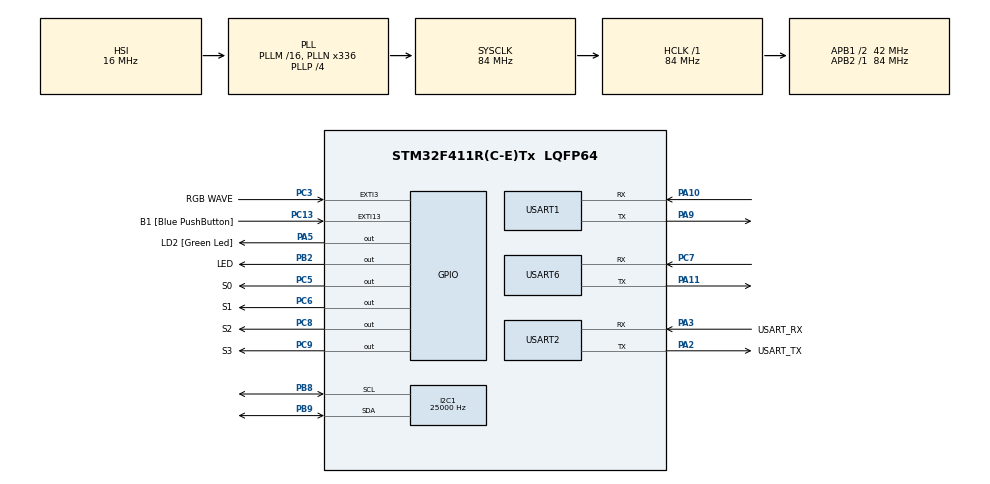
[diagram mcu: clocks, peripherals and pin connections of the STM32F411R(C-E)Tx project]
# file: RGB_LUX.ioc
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FREERTOS.Mutexes01=UartMutex,Dynamic,NULL;ESPUARTMutex,Dynamic,NULL
FREERTOS.Tasks01=defaultTask,0,128,StartDefaultTask,Default,NULL,Dynamic,NULL,NULL;LUX,-3,128,luxFunc,Default,NULL,Dynamic,NULL,NULL
FREERTOS.Timers01=measureTimer,measure,osTimerPeriodic,Default,NULL,Dynamic,NULL;autoUpdate,update,osTimerPeriodic,Default,NULL,Dynamic,NULL
FREERTOS.configUSE_TIMERS=1
I2C1.ClockSpeed=25000
Mcu.Family=STM32F4
Mcu.Name=STM32F411R(C-E)Tx
Mcu.Package=LQFP64
NVIC.EXTI15_10_IRQn=true\:5\:0\:false\:false\:true\:true\:true\:true
NVIC.EXTI3_IRQn=true\:0\:0\:true\:false\:true\:false\:true\:true
NVIC.PriorityGroup=NVIC_PRIORITYGROUP_4
PA10.Mode=Asynchronous
PA10.Signal=USART1_RX
PA11.Mode=Asynchronous
PA11.Signal=USART6_TX
PA13.GPIO_Label=TMS
PA13.Mode=Serial_Wire
PA13.Signal=SYS_JTMS-SWDIO
PA14.GPIO_Label=TCK
PA14.Mode=Serial_Wire
PA14.Signal=SYS_JTCK-SWCLK
PA2.GPIO_Label=USART_TX
PA2.Mode=Asynchronous
PA2.Signal=USART2_TX
PA3.GPIO_Label=USART_RX
PA3.Mode=Asynchronous
PA3.Signal=USART2_RX
PA5.GPIO_Label=LD2 [Green Led]
PA5.GPIO_ModeDefaultOutputPP=GPIO_MODE_OUTPUT_PP
PA5.Signal=GPIO_Output
PA9.Mode=Asynchronous
PA9.Signal=USART1_TX
PB2.GPIO_Label=LED
PB2.Signal=GPIO_Output
PB3.GPIO_Label=SWO
PB3.Signal=SYS_JTDO-SWO
PB8.GPIO_Pu=GPIO_PULLUP
PB8.Mode=I2C
PB8.Signal=I2C1_SCL
PB9.GPIO_Pu=GPIO_PULLUP
PB9.Mode=I2C
PB9.Signal=I2C1_SDA
PC13-ANTI_TAMP.GPIO_Label=B1 [Blue PushButton]
PC13-ANTI_TAMP.GPIO_ModeDefaultEXTI=GPIO_MODE_IT_FALLING
PC13-ANTI_TAMP.Signal=GPXTI13
PC14-OSC32_IN.Mode=LSE-External-Oscillator
PC14-OSC32_IN.Signal=RCC_OSC32_IN
PC15-OSC32_OUT.Mode=LSE-External-Oscillator
PC15-OSC32_OUT.Signal=RCC_OSC32_OUT
PC3.GPIO_Label=RGB WAVE
PC3.GPIO_ModeDefaultEXTI=GPIO_MODE_IT_RISING
PC3.Signal=GPXTI3
PC5.GPIO_Label=S0
PC5.Signal=GPIO_Output
PC6.GPIO_Label=S1
PC6.Signal=GPIO_Output
PC7.Mode=Asynchronous
PC7.Signal=USART6_RX
PC8.GPIO_Label=S2
PC8.Signal=GPIO_Output
PC9.GPIO_Label=S3
PC9.Signal=GPIO_Output
PH0\ -\ OSC_IN.Mode=HSE-External-Clock-Source
PH0\ -\ OSC_IN.Signal=RCC_OSC_IN
PH1\ -\ OSC_OUT.Mode=HSE-External-Clock-Source
PH1\ -\ OSC_OUT.Signal=RCC_OSC_OUT
ProjectManager.HeapSize=0x200
ProjectManager.StackSize=0x400
ProjectManager.TargetToolchain=STM32CubeIDE
RCC.48MHZClocksFreq_Value=84000000
RCC.AHBFreq_Value=84000000
RCC.APB1CLKDivider=RCC_HCLK_DIV2
RCC.APB1Freq_Value=42000000
RCC.APB1TimFreq_Value=84000000
RCC.APB2Freq_Value=84000000
RCC.APB2TimFreq_Value=84000000
RCC.CortexFreq_Value=84000000
RCC.FLatency-AdvancedSettings=FLASH_LATENCY_2
RCC.HCLKFreq_Value=84000000
RCC.HSE_VALUE=8000000
RCC.HSI_VALUE=16000000
RCC.PLLN=336
RCC.PLLP=RCC_PLLP_DIV4
RCC.SYSCLKFreq_VALUE=84000000
RCC.SYSCLKSource=RCC_SYSCLKSOURCE_PLLCLK
RCC.VCOOutputFreq_Value=336000000
USART1.VirtualMode=VM_ASYNC
USART2.VirtualMode=VM_ASYNC
USART6.VirtualMode=VM_ASYNC
VP_FREERTOS_VS_CMSIS_V1.Mode=CMSIS_V1
board=NUCLEO-F411RE

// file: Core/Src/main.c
/* USER CODE BEGIN Header */
/**
 ******************************************************************************
 * @file           : main.c
 * @brief          : Main program body
 ******************************************************************************
 * @attention
 *
 * Copyright (c) 2022 STMicroelectronics.
 * All rights reserved.
 *
 * This software is licensed under terms that can be found in the LICENSE file
 * in the root directory of this software component.
 * If no LICENSE0file comes with this software, it is provided AS-IS.
 *
 ******************************************************************************
 */
/* USER CODE END Header */
#include "main.h"
#include "cmsis_os.h"

/* USER CODE BEGIN PTD */

// LUX CONST
#define LUX_SCALE 14	// 2^14
#define RATIO_SCALE 9	// scale ratio to 2^5=512
#define K1T 0x0040 		// 0.125 * 2^RATIO_SCALE
#define B1T 0x01f2 		// 0.0304 * 2^LUX_SCALE
#define M1T 0x01be 		// 0.0272 * 2^LUX_SCALE
#define K2T 0x0080 		// 0.250 * 2^RATIO_SCALE
#define B2T 0x0214 		// 0.0325 * 2^LUX_SCALE
#define M2T 0x02d1		// 0.0440 * 2^LUX_SCALE
#define K3T 0x00c0		// 0.375 * 2^RATIO_SCALE
#define B3T 0x023f 		// 0.0351 * 2^LUX_SCALE
#define M3T 0x037b 		// 0.0544 * 2^LUX_SCALE
#define K4T 0x0100 		// 0.50 * 2^RATIO_SCALE
#define B4T 0x0270 		// 0.0381 * 2^LUX_SCALE
#define M4T 0x03fe 		// 0.0624 * 2^LUX_SCALE
#define K5T 0x0138 		// 0.61 * 2^RATIO_SCALE
#define B5T 0x016f 		// 0.0224 * 2^LUX_SCALE
#define M5T 0x01fc 		// 0.0310 * 2^LUX_SCALE
#define K6T 0x019a 		// 0.80 * 2^RATIO_SCALE
#define B6T 0x00d2 		// 0.0128 * 2^LUX_SCALE
#define M6T 0x00fb 		// 0.0153 * 2^LUX_SCALE
#define K7T 0x029a 		// 1.3 * 2^RATIO_SCALE
#define B7T 0x0018 		// 0.00146 * 2^LUX_SCALE
#define M7T 0x0012 		// 0.00112 * 2^LUX_SCALE
#define K8T 0x029a 		// 1.3 * 2^RATIO_SCALE
#define B8T 0x0000 		// 0.000 * 2^LUX_SCALE
#define M8T 0x0000 		// 0.000 * 2^LUX_SCALE

// RGB CONST
#define MAX_RED 	326
#define MAX_GREEN 	300
#define MAX_BLUE 	390

#define MIN_RED		54
#define MIN_GREEN	46
#define MIN_BLUE	61

/* USER CODE END PTD */

I2C_HandleTypeDef hi2c1;

UART_HandleTypeDef huart1;
UART_HandleTypeDef huart2;
UART_HandleTypeDef huart6;

osThreadId defaultTaskHandle;
osThreadId LUXHandle;
osTimerId measureTimerHandle;
osTimerId autoUpdateHandle;
osMutexId UartMutexHandle;
osMutexId ESPUARTMutexHandle;

void SystemClock_Config(void);
static void MX_GPIO_Init(void);
static void MX_USART2_UART_Init(void);
static void MX_USART1_UART_Init(void);
static void MX_I2C1_Init(void);
static void MX_USART6_UART_Init(void);
void StartDefaultTask(void const *argument);
void luxFunc(void const *argument);
void rgbCount(void const *argument);
void update(void const *argument);

/* USER CODE BEGIN 0 */

// PIN
uint8_t S0; 	//PC5
uint8_t S1;  	//PC6
uint8_t S2 = 0; 	//PC8
uint8_t S3 = 0; 	//PC9

// FOR RGB
uint8_t flag = 0;
int counter = 0;
int countR = 0;
int countG = 0;
int countB = 0;

// FOR LUX
HAL_StatusTypeDef ret;
uint8_t R0C[1];
uint8_t R0D[1];
uint8_t R0E[1];
uint8_t R0F[1];
uint8_t S[2];
uint8_t uart[32];
uint8_t addr[1] = { 0x8C };
uint8_t config[1] = { 0x03 };

// CONTROL
int globalColor[3];
int globalLux[1];
char colorBuffer[100];
char luxBuffer[10];
char luxString[4];
//char printBuffer[50];

int map(int x,int in_min,int in_max,int out_min,int out_max){
	int calibrate = (x-in_min)*(out_max-out_min) / (in_max - in_min) + out_min;
	if(calibrate>255) return 255;
	if(calibrate<0) return 0;
	return calibrate;
}

void printMutexUART(char *buffer) {
	// UART MUTEX
	osMutexWait(UartMutexHandle, osWaitForever);
	HAL_UART_Transmit(&huart2, buffer, strlen(buffer), 1000);
	osMutexRelease(UartMutexHandle);
}
void settingNextFilter(int counter, uint8_t state) {
	// Testing color and setting next color filter
	//                s2 s3
	// RED FILTER   -> 0 0
	// BLUE FILTER 	-> 0 1
	// GREEN FILTER	-> 1 1

	if (state == 1) {	// RED
		//sprintf(printBuffer,"RED\t: %d\r\n",counter);
		//printMutexUART(printBuffer);

		//Setting next Filter : BLUE
		HAL_GPIO_WritePin(GPIOC, GPIO_PIN_8, 0);
		HAL_GPIO_WritePin(GPIOC, GPIO_PIN_9, 1);

	} else if (state == 2) {	// BLUE
		//sprintf(printBuffer,"BLUE\t: %d\r\n",counter);
		//printMutexUART(printBuffer);

		//Setting next Filter : GREEN
		HAL_GPIO_WritePin(GPIOC, GPIO_PIN_8, 1);
		HAL_GPIO_WritePin(GPIOC, GPIO_PIN_9, 1);

	} else if (state == 3) { // GREEN
		//sprintf(printBuffer,"GREEN\t: %d\r\n\n",counter);
		//printMutexUART(printBuffer);

		//Setting next Filter : RED
		HAL_GPIO_WritePin(GPIOC, GPIO_PIN_8, 0);
		HAL_GPIO_WritePin(GPIOC, GPIO_PIN_9, 0);
	}
}
/*
int calibrate(int counter,uint8_t color){
	int calibrate = 0;
	if(color==1){
		calibrate = counter * 255 / MAX_RED;
	} else if(color==2){
		calibrate = counter * 255 / MAX_BLUE;
	} else if(color==3){
		calibrate = counter * 255 / MAX_GREEN;
	}
	return calibrate;
}
*/
void sendDataToNodeMCU() {
	// Send lastest Data to node MCU

	// LED PIN CHECK
	HAL_GPIO_TogglePin(GPIOA, GPIO_PIN_5);

	// SENDER TERMINAL
	sprintf(colorBuffer, "R : %d G: %d B :%d\r\n", globalColor[0],
			globalColor[1], globalColor[2]);
	printMutexUART(colorBuffer);
	sprintf(luxBuffer, "LUX : %d\r\n", globalLux[0]);
	printMutexUART(luxBuffer);

	// FORMAT LUX FROM INT TO STRING
	itoa(globalLux[0], luxString, 10);

	// SEND TO NODE MCU in String Format
	HAL_UART_Transmit(&huart1, globalColor, 3 * sizeof(int), 1000);
	HAL_UART_Transmit(&huart6, luxString, sizeof(luxString), 1000);
}
void HAL_GPIO_EXTI_Callback(uint16_t GPIO_Pin) {	// WAVE CHANGEs
	if (GPIO_Pin == GPIO_PIN_13) {						// PUSH BUTTON REQEUST
		sendDataToNodeMCU();
		//HAL_Delay(100);
		while (HAL_GPIO_ReadPin(B1_GPIO_Port, B1_Pin))
			;
	} else if (GPIO_Pin == GPIO_PIN_3) {		// COUNT FREQ OF LIGHT BY TIMER
		counter++; // count freq of color
	}
	__HAL_GPIO_EXTI_CLEAR_IT(GPIO_Pin);
}
/* USER CODE END 0 */

int main(void) {

	/* MCU Configuration--------------------------------------------------------*/

	/* Reset of all peripherals, Initializes the Flash interface and the Systick. */
	HAL_Init();

	/* Configure the system clock */
	SystemClock_Config();

	/* Initialize all configured peripherals */
	MX_GPIO_Init();
	MX_USART2_UART_Init();
	MX_USART1_UART_Init();
	MX_I2C1_Init();
	MX_USART6_UART_Init();
	/* USER CODE BEGIN 2 */

	// SET UP SCALING PIN
	HAL_GPIO_WritePin(GPIOC, GPIO_PIN_5, 1); // -> 1 0 means that 50% scaling
	HAL_GPIO_WritePin(GPIOC, GPIO_PIN_6, 0);
	// TURN ON LIGHT ON RGB
	HAL_GPIO_WritePin(GPIOB, GPIO_PIN_2, 1); // B2-LED

	/* USER CODE END 2 */

	/* Create the mutex(es) */
	/* definition and creation of UartMutex */
	osMutexDef(UartMutex);
	UartMutexHandle = osMutexCreate(osMutex(UartMutex));

	/* definition and creation of ESPUARTMutex */
	osMutexDef(ESPUARTMutex);
	ESPUARTMutexHandle = osMutexCreate(osMutex(ESPUARTMutex));

	/* Create the timer(s) */
	/* definition and creation of measureTimer */
	osTimerDef(measureTimer, rgbCount);
	measureTimerHandle = osTimerCreate(osTimer(measureTimer), osTimerPeriodic,
	NULL);

	/* definition and creation of autoUpdate */
	osTimerDef(autoUpdate, update);
	autoUpdateHandle = osTimerCreate(osTimer(autoUpdate), osTimerPeriodic,
	NULL);

	/* USER CODE BEGIN RTOS_TIMERS */
	/* start timers, add new ones, ... */
	osTimerStart(measureTimerHandle, 10);
	osTimerStart(autoUpdateHandle, 10000);
	/* USER CODE END RTOS_TIMERS */

	/* Create the thread(s) */
	/* definition and creation of defaultTask */
	osThreadDef(defaultTask, StartDefaultTask, osPriorityNormal, 0, 128);
	defaultTaskHandle = osThreadCreate(osThread(defaultTask), NULL);

	/* definition and creation of LUX */
	osThreadDef(LUX, luxFunc, osPriorityIdle, 0, 128);
	LUXHandle = osThreadCreate(osThread(LUX), NULL);

	/* Start scheduler */
	osKernelStart();

	/* We should never get here as control is now taken by the scheduler */
	/* Infinite loop */
	while (1) {

	}
}

void SystemClock_Config(void) {
	RCC_OscInitTypeDef RCC_OscInitStruct = { 0 };
	RCC_ClkInitTypeDef RCC_ClkInitStruct = { 0 };

	/** Configure the main internal regulator output voltage
	 */
	__HAL_RCC_PWR_CLK_ENABLE();
	__HAL_PWR_VOLTAGESCALING_CONFIG(PWR_REGULATOR_VOLTAGE_SCALE1);
	/** Initializes the RCC Oscillators according to the specified parameters
	 * in the RCC_OscInitTypeDef structure.
	 */
	RCC_OscInitStruct.OscillatorType = RCC_OSCILLATORTYPE_HSI;
	RCC_OscInitStruct.HSIState = RCC_HSI_ON;
	RCC_OscInitStruct.HSICalibrationValue = RCC_HSICALIBRATION_DEFAULT;
	RCC_OscInitStruct.PLL.PLLState = RCC_PLL_ON;
	RCC_OscInitStruct.PLL.PLLSource = RCC_PLLSOURCE_HSI;
	RCC_OscInitStruct.PLL.PLLM = 16;
	RCC_OscInitStruct.PLL.PLLN = 336;
	RCC_OscInitStruct.PLL.PLLP = RCC_PLLP_DIV4;
	RCC_OscInitStruct.PLL.PLLQ = 4;
	if (HAL_RCC_OscConfig(&RCC_OscInitStruct) != HAL_OK) {
		Error_Handler();
	}
	/** Initializes the CPU, AHB and APB buses clocks
	 */
	RCC_ClkInitStruct.ClockType = RCC_CLOCKTYPE_HCLK | RCC_CLOCKTYPE_SYSCLK
			| RCC_CLOCKTYPE_PCLK1 | RCC_CLOCKTYPE_PCLK2;
	RCC_ClkInitStruct.SYSCLKSource = RCC_SYSCLKSOURCE_PLLCLK;
	RCC_ClkInitStruct.AHBCLKDivider = RCC_SYSCLK_DIV1;
	RCC_ClkInitStruct.APB1CLKDivider = RCC_HCLK_DIV2;
	RCC_ClkInitStruct.APB2CLKDivider = RCC_HCLK_DIV1;

	if (HAL_RCC_ClockConfig(&RCC_ClkInitStruct, FLASH_LATENCY_2) != HAL_OK) {
		Error_Handler();
	}
}

static void MX_I2C1_Init(void) {

	hi2c1.Instance = I2C1;
	hi2c1.Init.ClockSpeed = 25000;
	hi2c1.Init.DutyCycle = I2C_DUTYCYCLE_2;
	hi2c1.Init.OwnAddress1 = 0;
	hi2c1.Init.AddressingMode = I2C_ADDRESSINGMODE_7BIT;
	hi2c1.Init.DualAddressMode = I2C_DUALADDRESS_DISABLE;
	hi2c1.Init.OwnAddress2 = 0;
	hi2c1.Init.GeneralCallMode = I2C_GENERALCALL_DISABLE;
	hi2c1.Init.NoStretchMode = I2C_NOSTRETCH_DISABLE;
	if (HAL_I2C_Init(&hi2c1) != HAL_OK) {
		Error_Handler();
	}

}

static void MX_USART1_UART_Init(void) {

	huart1.Instance = USART1;
	huart1.Init.BaudRate = 115200;
	huart1.Init.WordLength = UART_WORDLENGTH_8B;
	huart1.Init.StopBits = UART_STOPBITS_1;
	huart1.Init.Parity = UART_PARITY_NONE;
	huart1.Init.Mode = UART_MODE_TX_RX;
	huart1.Init.HwFlowCtl = UART_HWCONTROL_NONE;
	huart1.Init.OverSampling = UART_OVERSAMPLING_16;
	if (HAL_UART_Init(&huart1) != HAL_OK) {
		Error_Handler();
	}

}

static void MX_USART2_UART_Init(void) {

	huart2.Instance = USART2;
	huart2.Init.BaudRate = 115200;
	huart2.Init.WordLength = UART_WORDLENGTH_8B;
	huart2.Init.StopBits = UART_STOPBITS_1;
	huart2.Init.Parity = UART_PARITY_NONE;
	huart2.Init.Mode = UART_MODE_TX_RX;
	huart2.Init.HwFlowCtl = UART_HWCONTROL_NONE;
	huart2.Init.OverSampling = UART_OVERSAMPLING_16;
	if (HAL_UART_Init(&huart2) != HAL_OK) {
		Error_Handler();
	}

}

static void MX_USART6_UART_Init(void) {

	huart6.Instance = USART6;
	huart6.Init.BaudRate = 115200;
	huart6.Init.WordLength = UART_WORDLENGTH_8B;
	huart6.Init.StopBits = UART_STOPBITS_1;
	huart6.Init.Parity = UART_PARITY_NONE;
	huart6.Init.Mode = UART_MODE_TX_RX;
	huart6.Init.HwFlowCtl = UART_HWCONTROL_NONE;
	huart6.Init.OverSampling = UART_OVERSAMPLING_16;
	if (HAL_UART_Init(&huart6) != HAL_OK) {
		Error_Handler();
	}

}

static void MX_GPIO_Init(void) {
	GPIO_InitTypeDef GPIO_InitStruct = { 0 };

	/* GPIO Ports Clock Enable */
	__HAL_RCC_GPIOC_CLK_ENABLE();
	__HAL_RCC_GPIOH_CLK_ENABLE();
	__HAL_RCC_GPIOA_CLK_ENABLE();
	__HAL_RCC_GPIOB_CLK_ENABLE();

	/*Configure GPIO pin Output Level */
	HAL_GPIO_WritePin(LD2_GPIO_Port, LD2_Pin, GPIO_PIN_RESET);

	/*Configure GPIO pin Output Level */
	HAL_GPIO_WritePin(GPIOC, S0_Pin | S1_Pin | S2_Pin | S3_Pin, GPIO_PIN_RESET);

	/*Configure GPIO pin Output Level */
	HAL_GPIO_WritePin(LED_GPIO_Port, LED_Pin, GPIO_PIN_RESET);

	/*Configure GPIO pin : B1_Pin */
	GPIO_InitStruct.Pin = B1_Pin;
	GPIO_InitStruct.Mode = GPIO_MODE_IT_FALLING;
	GPIO_InitStruct.Pull = GPIO_NOPULL;
	HAL_GPIO_Init(B1_GPIO_Port, &GPIO_InitStruct);

	/*Configure GPIO pin : RGB_WAVE_Pin */
	GPIO_InitStruct.Pin = RGB_WAVE_Pin;
	GPIO_InitStruct.Mode = GPIO_MODE_IT_RISING;
	GPIO_InitStruct.Pull = GPIO_NOPULL;
	HAL_GPIO_Init(RGB_WAVE_GPIO_Port, &GPIO_InitStruct);

	/*Configure GPIO pin : LD2_Pin */
	GPIO_InitStruct.Pin = LD2_Pin;
	GPIO_InitStruct.Mode = GPIO_MODE_OUTPUT_PP;
	GPIO_InitStruct.Pull = GPIO_NOPULL;
	GPIO_InitStruct.Speed = GPIO_SPEED_FREQ_LOW;
	HAL_GPIO_Init(LD2_GPIO_Port, &GPIO_InitStruct);

	/*Configure GPIO pins : S0_Pin S1_Pin S2_Pin S3_Pin */
	GPIO_InitStruct.Pin = S0_Pin | S1_Pin | S2_Pin | S3_Pin;
	GPIO_InitStruct.Mode = GPIO_MODE_OUTPUT_PP;
	GPIO_InitStruct.Pull = GPIO_NOPULL;
	GPIO_InitStruct.Speed = GPIO_SPEED_FREQ_LOW;
	HAL_GPIO_Init(GPIOC, &GPIO_InitStruct);

	/*Configure GPIO pin : LED_Pin */
	GPIO_InitStruct.Pin = LED_Pin;
	GPIO_InitStruct.Mode = GPIO_MODE_OUTPUT_PP;
	GPIO_InitStruct.Pull = GPIO_NOPULL;
	GPIO_InitStruct.Speed = GPIO_SPEED_FREQ_LOW;
	HAL_GPIO_Init(LED_GPIO_Port, &GPIO_InitStruct);

	/* EXTI interrupt init*/
	HAL_NVIC_SetPriority(EXTI3_IRQn, 0, 0);
	HAL_NVIC_EnableIRQ(EXTI3_IRQn);

	HAL_NVIC_SetPriority(EXTI15_10_IRQn, 5, 0);
	HAL_NVIC_EnableIRQ(EXTI15_10_IRQn);

}

void StartDefaultTask(void const *argument) {
	while (1) {
		osDelay(1);
	}
}

void luxFunc(void const *argument) {
	/* USER CODE BEGIN luxFunc */
	/* Infinite loop */

	for (;;) {
		ret = HAL_I2C_Mem_Write(&hi2c1, 0x39 << 1, 0xA0, I2C_MEMADD_SIZE_8BIT,
				config, 1, 100);
		if (ret != HAL_OK) {
			strcpy((char*) uart, "Error Write mem 0x0 by 0x03\r\n");
			printMutexUART(uart);
		} else {
			HAL_I2C_Master_Transmit(&hi2c1, 0x39 << 1, addr, 1, 100);
			HAL_I2C_Master_Receive(&hi2c1, 0x39 << 1, S, 2, 100);
			//			ret = HAL_I2C_Mem_Read(&hi2c1, 0x39 << 1 , 0x00, 1, R00, 1, 100);
			if (ret != HAL_OK) {
				strcpy((char*) uart, "Error Read mem 0x0 ");
				printMutexUART(uart);
			} else {
				osDelay(100);
				ret = HAL_I2C_Mem_Read(&hi2c1, 0x39 << 1, 0x8C, 1, R0C, 1, 100);
				ret = HAL_I2C_Mem_Read(&hi2c1, 0x39 << 1, 0x8D, 1, R0D, 1, 100);
				ret = HAL_I2C_Mem_Read(&hi2c1, 0x39 << 1, 0x8E, 1, R0E, 1, 100);
				ret = HAL_I2C_Mem_Read(&hi2c1, 0x39 << 1, 0x8F, 1, R0F, 1, 100);
				uint16_t data0;
				data0 = (uint16_t) R0C[0];
				data0 |= (uint16_t) (R0D[0] << 8);
				uint16_t data1;
				data1 = (uint16_t) R0E[0];
				data1 |= (uint16_t) (R0F[0] << 8);

				long ch0 = data0;
				long ch1 = data1;
				unsigned long ratio1 = 0;

				// calculate ratio and scale to 512 (2^9)
				if (ch0 != 0) {
					ratio1 = (ch1 << (RATIO_SCALE + 1)) / ch0;
				}

				// round ratio value
				unsigned long ratio = (ratio1 + 1) >> 1;

				// transform to LUX (p. 23)
				// FN package
				unsigned int b, m;

				if (ratio >= 0 && ratio <= K1T) {
					b = B1T;
					m = M1T;
				} else if (ratio <= K2T) {
					b = B2T;
					m = M2T;
				} else if (ratio <= K3T) {
					b = B3T;
					m = M3T;
				} else if (ratio <= K4T) {
					b = B4T;
					m = M4T;
				} else if (ratio <= K5T) {
					b = B5T;
					m = M5T;
				} else if (ratio <= K6T) {
					b = B6T;
					m = M6T;
				} else if (ratio <= K7T) {
					b = B7T;
					m = M7T;
				} else if (ratio <= K8T) {
					b = B8T;
					m = M8T;
				}

				unsigned long temp = (ch0 * b) - (ch1 * m);

				// avoid negativ LUX values
				if (temp < 0) {
					temp = 0;
				}

				// round the LSB (2^LUX-SCALE-1)
				temp += (1 << LUX_SCALE - 1);

				// cut the rest
				unsigned long lux = temp >> LUX_SCALE;
				globalLux[0] = (int) lux;

				if (ret != HAL_OK) {
					strcpy((char*) uart, "Error read mem 0x0C");
					printMutexUART(uart);
				} else {
					sprintf((char*) uart, "DATA0 %d DATA1 %d lux %d\r\n", data0,
							data1, lux);
				}
			}
		}
		//printMutexUART(uart);
		osDelay(1000);
	}

	/* USER CODE END luxFunc */
}

/* measure function */
void rgbCount(void const *argument) {
	/* USER CODE BEGIN measure */

	// Trigger every 10 ms to print out
	flag++;
	if (flag == 1) {				// RED
		//counter = calibrate(counter,1);
		counter = map(counter, MIN_RED, MAX_RED, 0, 255);
		countR = counter;
		/*
		if(counter<=255){
		} else {
			countR = 255;
		}*/
		settingNextFilter(counter, 1);
	} else if (flag == 2) {			// BLUE
		//counter = calibrate(counter,2);
		counter = map(counter, MIN_BLUE, MAX_BLUE, 0, 255);
		countB = counter;
		/*
		if(counter<=255){
		} else {
			countB = 255;
		}*/
		settingNextFilter(counter, 2);
	} else if (flag == 3) {			// GREEN
		//counter = calibrate(counter,3);
		counter = map(counter, MIN_GREEN, MAX_GREEN, 0, 255);
		countG = counter;
		/*
		if(counter<=255){
		} else {
			countG = 255;
		}*/
		settingNextFilter(counter, 3);
	} else if (flag == 4) {			// Update global and RESET
		// PUT IN Global Buffer
		globalColor[0] = countR;
		globalColor[1] = countG;
		globalColor[2] = countB;
		// RESET
		flag = 0;
		countR = countB = countG = 0;
	}
	counter = 0;					// RESET COUNTER after count any color
	/* USER CODE END measure */
}

/* update function */
void update(void const *argument) {
	/* USER CODE BEGIN update */

	// Auto Update Every 10 Second
	printMutexUART("\n--UPDATE--\r\n");
	sendDataToNodeMCU();
	printMutexUART("----------\r\n");
	osDelay(100);

	/* USER CODE END update */
}

void Error_Handler(void) {
	__disable_irq();
	while (1) {
	}
}
